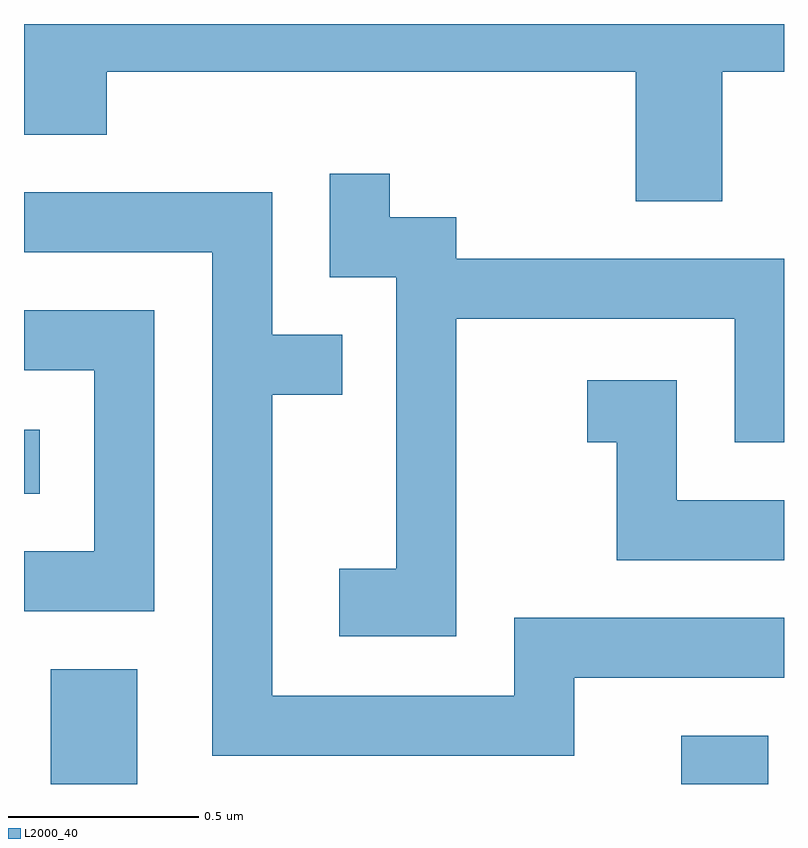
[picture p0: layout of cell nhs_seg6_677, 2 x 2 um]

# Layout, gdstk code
import gdstk
lib = gdstk.Library(unit=1e-6, precision=1e-09)
def R(c, l, rs):  # rectangles x0, y0, x1, y1
    for r in rs: c.add(gdstk.rectangle(r[:2], r[2:], *l))
def P(c, l, *ps):  # polygons
    for p in ps: c.add(gdstk.Polygon(p, *l))
L2000_40 = (2000, 40)

nhs_seg6_677 = lib.new_cell('nhs_seg6_677')
R(nhs_seg6_677, L2000_40, [(189.681,1659.162,189.909,1659.464), (191.341,1659.162,191.569,1659.289), (189.611,1659.926,189.653,1660.094)])
P(nhs_seg6_677, L2000_40, [(191.449,1661.036),(191.611,1661.036),(191.611,1661.162),(189.611,1661.162),(189.611,1660.871),(189.829,1660.871),(189.829,1661.036),(191.221,1661.036),(191.221,1660.696),(191.449,1660.696)],
  [(190.749,1660.386),(191.481,1660.386),(191.481,1660.061),(191.611,1660.061),(191.611,1660.544),(190.749,1660.544),(190.749,1660.654),(190.574,1660.654),(190.574,1660.768),(190.416,1660.768),(190.416,1660.496),(190.591,1660.496),(190.591,1659.729),(190.441,1659.729),(190.441,1659.551),(190.749,1659.551)],
  [(191.059,1659.441),(191.611,1659.441),(191.611,1659.599),(190.901,1659.599),(190.901,1659.394),(190.264,1659.394),(190.264,1660.186),(190.448,1660.186),(190.448,1660.344),(190.264,1660.344),(190.264,1660.719),(189.611,1660.719),(189.611,1660.561),(190.106,1660.561),(190.106,1659.236),(191.059,1659.236)],
  [(189.954,1660.409),(189.611,1660.409),(189.611,1660.251),(189.796,1660.251),(189.796,1659.774),(189.611,1659.774),(189.611,1659.616),(189.954,1659.616)],
  [(191.611,1659.909),(191.329,1659.909),(191.329,1660.224),(191.093,1660.224),(191.093,1660.061),(191.171,1660.061),(191.171,1659.751),(191.611,1659.751)])

lib.write_gds('nhs_seg6_677.gds')
